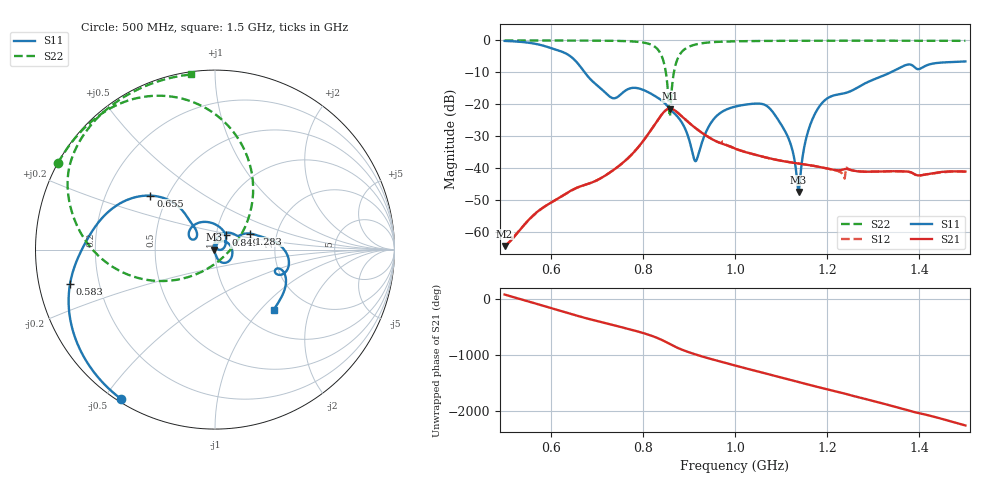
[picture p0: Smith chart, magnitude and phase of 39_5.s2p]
! TOUCHSTONE file generated by CST MICROWAVE STUDIO
! Date and time: Mon Oct 26 12:28:39 2020
! Project name: Scenario_1_Circular_Tissue_out_of_Line.cst
! Parameters = {dy1=312.958; L_HA=400; MT=2.54; Rad_Dielectric=30; Rad_Lower=7.3; Rad_Upper=30; a_HA=580; a_WG=246; b_HA=500; b_WG=121; c_HA=0; c_WG=187; d_feed=85; dx1=866; h_feed=15; h_lower=18; h_upper=40}
! Header version: 2018
! Port assignment regex: !\s*Touchstone port\s*([0-9]+)\s*=\s*(CST MWS port|CST DS port)\s*([0-9]+|Zmin|Zmax)\s*\(\"(.*)\"\)(\s*mode\s*([0-9]+))?.*
! Touchstone port assignment:
! Touchstone port 1 = CST MWS port 1 ("")
! Touchstone port 2 = CST MWS port 2 ("")
# GHz S DB R 50
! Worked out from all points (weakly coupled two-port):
!   1001 points, 500 MHz to 1.5 GHz, reference 50 ohm
!   highest |S21| = -21.40 dB at 859 MHz (marker M1); lowest = -64.6 dB at 500 MHz (marker M2)
!   lowest |S11| = -47.6 dB at 1.138 GHz (marker M3), VSWR 1.01, Z = 49.6 - j0.0558 ohm
!   |S11| at or under -10 dB: 673.6 MHz to 1.338 GHz (664.5 MHz wide, 66.1 % of centre)
!   |S22| runs from -23.9 to 0.0 dB; largest |S21 - S12| = 0.0039
!   S11 on the Smith chart (normalised r, x): 500 MHz: 0.01, -0.55; 583 MHz: 0.09, -0.12; 655 MHz: 0.40, +0.31; 849 MHz: 1.11, +0.18; 1.283 GHz: 1.45, +0.27; 1.5 GHz: 1.38, -1.18
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0.5  -0.15 -122.4  -64.57 77.5  -64.59 77.4  -0.01 151.1
0.583  -1.61 -166.5  -52.50 -120.9  -52.58 -120.0  -0.02 145.4
0.655  -6.58 140.1  -46.35 66.9  -46.41 67.1  -0.04 139.5
0.667  -8.72 132.4  -45.69 38.4  -45.70 38.6  -0.04 138.4
0.733  -18.04 143.6  -41.02 -99.8  -41.02 -99.8  -0.11 130.5
0.779  -14.88 137.0  -35.33 162.8  -35.34 162.8  -0.33 120.8
0.834  -18.15 74.6  -24.64 16.6  -24.62 16.5  -3.11 84.4
0.849  -19.89 54.3  -22.01 -41.4  -22.00 -41.5  -9.24 52.7
0.859  -21.60 42.6  -21.40 -84.9  -21.37 -84.9  -23.62 -69.6
0.877  -24.23 21.8  -22.86 -156.7  -22.85 -156.8  -5.26 -167.6
0.915  -37.87 36.9  -27.60 90.3  -27.58 90.3  -1.26 160.5
0.951  -25.22 56.6  -31.07 4.0  -31.04 3.8  -0.54 149.0
1  -20.78 8.1  -33.93 -105.1  -33.94 -105.2  -0.28 140.4
1.079  -21.94 -62.8  -37.14 86.5  -37.18 86.8  -0.14 131.7
1.118  -31.43 -83.7  -38.21 3.4  -38.21 3.2  -0.12 128.2
1.138  -47.55 -172.3  -38.63 -39.2  -38.63 -39.7  -0.11 126.6
1.153  -31.61 98.9  -38.95 -71.1  -38.96 -71.6  -0.10 125.4
1.167  -25.10 83.5  -39.27 -100.7  -39.29 -101.0  -0.10 124.3
1.199  -18.32 51.0  -40.19 -166.7  -40.17 -166.4  -0.09 121.8
1.283  -13.43 24.8  -41.22 19.8  -41.18 20.7  -0.08 115.4
1.334  -10.29 11.1  -41.06 -89.1  -41.06 -89.3  -0.09 111.5
1.5  -6.60 -45.6  -41.17 -91.0  -41.18 -90.8  -0.13 97.9
